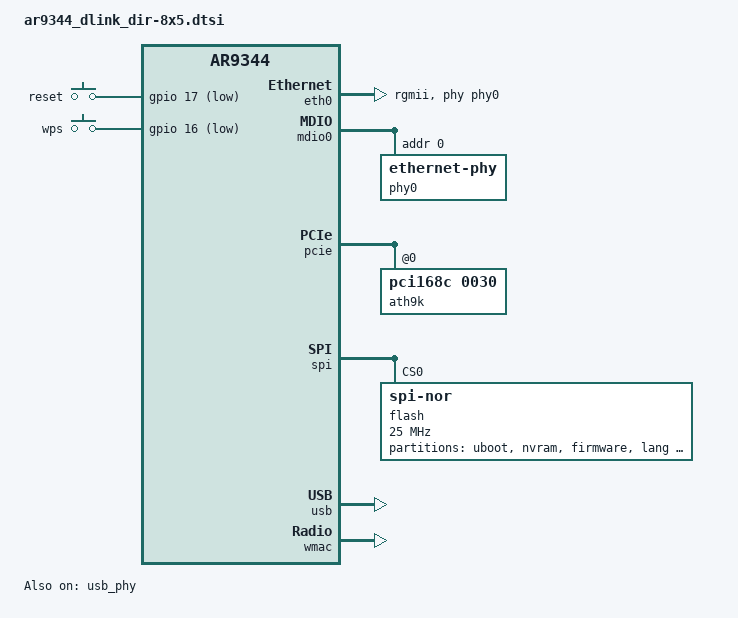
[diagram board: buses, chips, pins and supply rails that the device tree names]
// SPDX-License-Identifier: GPL-2.0-or-later OR MIT

#include "ar9344.dtsi"

#include <dt-bindings/gpio/gpio.h>
#include <dt-bindings/input/input.h>

/ {
	keys {
		compatible = "gpio-keys";

		reset {
			linux,code = <KEY_RESTART>;
			gpios = <&gpio 17 GPIO_ACTIVE_LOW>;
			debounce-interval = <60>;
		};

		wps {
			linux,code = <KEY_WPS_BUTTON>;
			gpios = <&gpio 16 GPIO_ACTIVE_LOW>;
			debounce-interval = <60>;
		};
	};
};

&eth0 {
	status = "okay";

	/* default for ar934x, except for 1000M */
	pll-data = <0x06000000 0x00000101 0x00001616>;

	nvmem-cells = <&macaddr_lan 0>;
	nvmem-cell-names = "mac-address";

	phy-mode = "rgmii";
	phy-handle = <&phy0>;
};

&mdio0 {
	status = "okay";

	phy0: ethernet-phy@0 {
		reg = <0>;
		qca,ar8327-initvals = <
			/* GPL code drop (bsp.h & athrs17_phy.c) */
			0x10 0xc1000000 /* PWS_REG_VALUE */
			0x04 0x07600000 /* PORT0 PAD Mode */
			0x0c 0x01000000 /* PORT6 PAD Mode */
			0x7c 0x0000007e /* PORT0_STATUS */
			0x94 0x0000007e /* PORT6_STATUS */
		>;
	};
};

&pcie {
	status = "okay";

	ath9k: wifi@0,0 {
		compatible = "pci168c,0030";
		reg = <0x0000 0 0 0 0>;
		/* "mac-address" currently does not work for
		   ath9k pci devices. these below are retained for future
		   improvements. */
		/* nvmem-cells = <&macaddr_wan 1>, <&cal_art_5000>;
		   nvmem-cell-names = "mac-address", "calibration";
		 */
		qca,no-eeprom; /* remove this when "mac-address" works  */
		gpio-controller;
		#gpio-cells = <2>;
	};
};

&ref {
	clock-frequency = <40000000>;
};

&spi {
	status = "okay";

	flash@0 {
		compatible = "jedec,spi-nor";
		reg = <0>;
		spi-max-frequency = <25000000>;

		partitions {
			compatible = "fixed-partitions";
			#address-cells = <1>;
			#size-cells = <1>;

			partition@0 {
				label = "uboot";
				reg = <0x000000 0x010000>;
				read-only;
			};

			partition@10000 {
				label = "nvram";
				reg = <0x010000 0x010000>;
				read-only;
			};

			partition@20000 {
				label = "firmware";
				reg = <0x020000 0xF90000>;
				compatible = "denx,uimage";
			};

			partition@fb0000 {
				label = "lang";
				reg = <0xfb0000 0x030000>;
				read-only;
			};

			mac: partition@fe0000 {
				label = "mac";
				reg = <0xfe0000 0x010000>;
				read-only;

				nvmem-layout {
					compatible = "fixed-layout";
					#address-cells = <1>;
					#size-cells = <1>;

					macaddr_lan: macaddr@4 {
						compatible = "mac-base";
						reg = <0x4 0x11>;
						#nvmem-cell-cells = <1>;
					};

					macaddr_wan: macaddr@18 {
						compatible = "mac-base";
						reg = <0x18 0x11>;
						#nvmem-cell-cells = <1>;
					};
				};
			};

			art: partition@ff0000 {
				label = "art";
				reg = <0xff0000 0x010000>;
				read-only;

				nvmem-layout {
					compatible = "fixed-layout";
					#address-cells = <1>;
					#size-cells = <1>;

					cal_art_1000: cal@1000 {
						reg = <0x1000 0x440>;
					};

					cal_art_5000: cal@5000 {
						reg = <0x5000 0x440>;
					};
				};
			};
		};
	};
};

&usb {
	status = "okay";
};

&usb_phy {
	status = "okay";
};

&wmac {
	status = "okay";
	nvmem-cells = <&macaddr_lan 0>, <&cal_art_1000>;
	nvmem-cell-names = "mac-address", "calibration";
};
